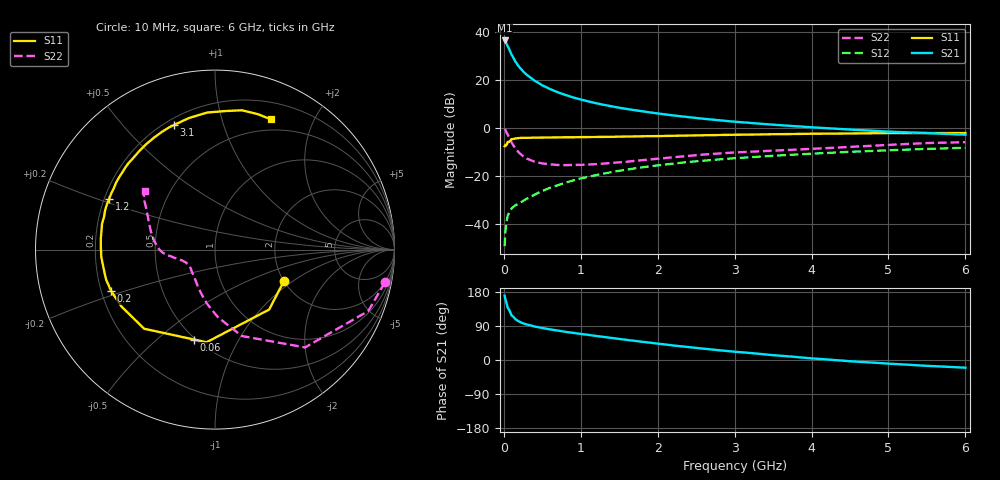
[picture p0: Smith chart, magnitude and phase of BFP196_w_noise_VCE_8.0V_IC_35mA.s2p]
! Infineon Technologies  Discrete & RF Semiconductors
! BFP196
! VCE =  8.0 V,  IC =  35 mA
! Common Emitter S-Parameters:  Jan 2017
# GHz  S  MA  R  50
!  f  S11  S21  S12  S22
! GHz  MAG  ANG  MAG  ANG  MAG  ANG  MAG  ANG
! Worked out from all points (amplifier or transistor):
!   77 points, 10 MHz to 6 GHz, reference 50 ohm
!   highest |S21| = 36.5 dB at 10 MHz (marker M1)
!   |S21| within 3 dB of that: start of sweep to 60.14 MHz
!   unconditionally stable (mu >= 1): 654.4 MHz to 2.373 GHz
!   at 130 MHz: K = 0.50, MSG = 30.8 dB, |S12| = -32.6 dB
!   at 2.2 GHz: K = 1.01, MAG = 9.4 dB, |S12| = -14.8 dB
!   at 6 GHz: K = 0.93, MSG = 2.7 dB, |S12| = -8.2 dB
!   lowest NFmin = 1.28 dB at 450 MHz
!   S11 on the Smith chart (normalised r, x): 10 MHz: 1.99, -0.86; 60 MHz: 0.49, -0.67; 200 MHz: 0.24, -0.18; 1.2 GHz: 0.22, +0.22; 3.1 GHz: 0.23, +0.69; 6 GHz: 0.38, +1.45
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0.01  0.4221 -24.9  66.71 169.6  0.0035 82.6  0.9643 -10.9
0.02  0.4502 -47.9  64.93 160.2  0.007 80.2  0.9203 -21.8
0.05  0.5182 -95.2  51.09 137.8  0.0151 59.4  0.7408 -47.4
0.06  0.5144 -103.1  47.28 135.0  0.0163 57.2  0.6848 -51.0
0.1  0.5917 -131.8  33.85 117.6  0.0212 50.8  0.5031 -72.9
0.15  0.6098 -148.6  24.24 107.6  0.0249 50.3  0.3749 -87.8
0.2  0.623 -158.2  18.73 101.3  0.0271 51.1  0.3047 -98.4
0.25  0.6294 -164.7  15.19 96.7  0.0306 54.1  0.2613 -106.4
0.3  0.6291 -169.3  12.75 93.6  0.0342 55.9  0.2325 -113.3
0.4  0.6348 -176.3  9.683 88.3  0.0412 58.6  0.2002 -123.4
0.5  0.6365 178.3  7.768 84.3  0.0492 61.1  0.1845 -131.4
0.6  0.6392 174.2  6.511 80.8  0.0575 62.1  0.1768 -137.8
0.7  0.6412 170.5  5.587 77.7  0.0648 63.1  0.1709 -142.3
0.9  0.6445 163.5  4.355 71.6  0.0814 63.2  0.1712 -149.2
1.1  0.6526 157.4  3.59 66.2  0.0973 62.4  0.1752 -154.4
1.2  0.6545 154.4  3.295 63.4  0.1055 61.5  0.178 -156.5
1.6  0.6691 143.1  2.502 53.0  0.137 57.8  0.2 -163.2
2.1  0.6873 129.9  1.929 40.9  0.175 51.8  0.239 -169.9
3.1  0.7305 108.4  1.323 20.2  0.2419 39.3  0.3171 178.1
4.1  0.7657 91.7  1.019 2.9  0.2993 27.7  0.3773 162.6
5.1  0.7899 77.8  0.834 -10.7  0.3505 16.1  0.4559 147.9
6  0.7897 66.7  0.731 -20.3  0.3902 6.0  0.5112 140.2
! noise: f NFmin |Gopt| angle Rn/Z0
0.45  1.28  0.35  173  0.05
0.9  1.44  0.45  -169  0.07
1.9  2.27  0.68  -134  0.27
2.4  2.68  0.71  -121  0.61
